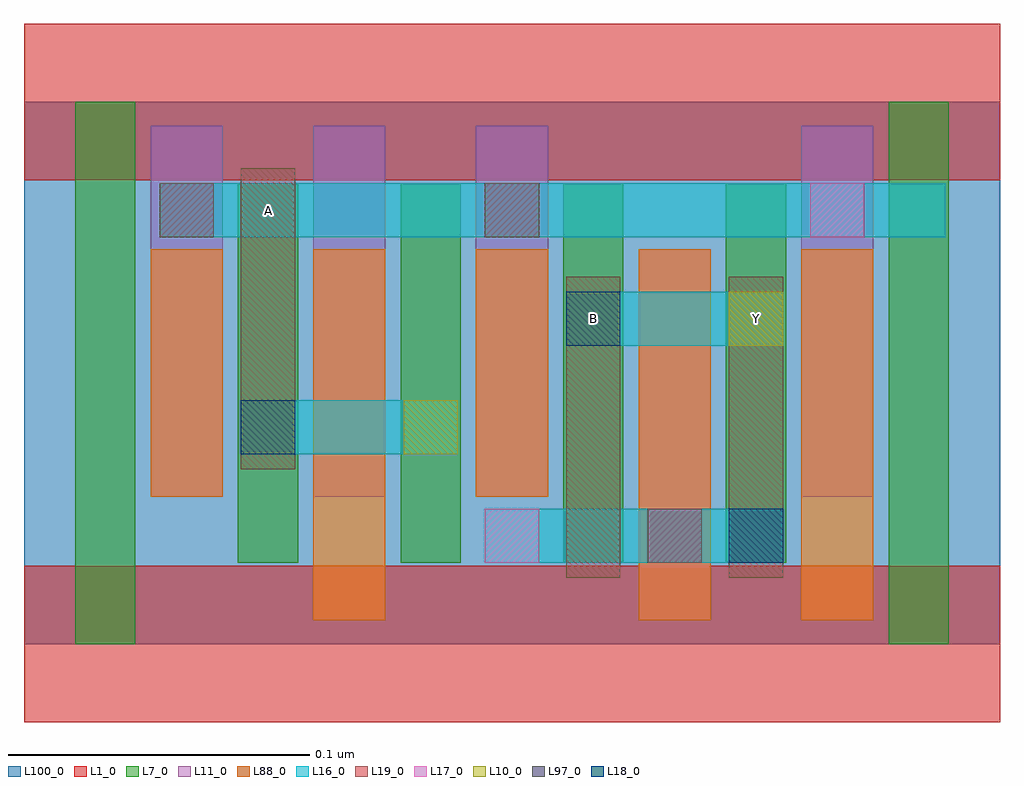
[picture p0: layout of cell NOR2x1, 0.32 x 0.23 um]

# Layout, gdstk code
import gdstk
lib = gdstk.Library(unit=1e-6, precision=2.5e-10)
def R(c, l, rs):  # rectangles x0, y0, x1, y1
    for r in rs: c.add(gdstk.rectangle(r[:2], r[2:], *l))
def A(c, l, x, y, w, h, nx, ny, dx, dy):  # array of equal rectangles
    R(c, l, [(x+i*dx, y+j*dy, x+i*dx+w, y+j*dy+h) for i in range(nx) for j in range(ny)])
L1_0 = (1, 0)
L7_0 = (7, 0)
L10_0 = (10, 0)
L11_0 = (11, 0)
L16_0 = (16, 0)
L17_0 = (17, 0)
L18_0 = (18, 0)
L19_0 = (19, 0)
L88_0 = (88, 0)
L97_0 = (97, 0)
L100_0 = (100, 0)

nor2x1 = lib.new_cell('NOR2x1')
R(nor2x1, L1_0, [(0,-0.026,0.324,0.026), (0,0.154,0.324,0.206)])
A(nor2x1, L7_0, 0.071, 0.027, 0.02, 0.126, 4, 1, 0.054, 0)
R(nor2x1, L7_0, [(0.017,0,0.037,0.18), (0.287,0,0.307,0.18)])
R(nor2x1, L10_0, [(0.072,0.063,0.09,0.081), (0.126,0.063,0.144,0.081), (0.18,0.099,0.198,0.117), (0.234,0.099,0.252,0.117)])
A(nor2x1, L11_0, 0.042, 0.049, 0.024, 0.123, 3, 1, 0.054, 0)
R(nor2x1, L11_0, [(0.204,0.008,0.228,0.131), (0.258,0.049,0.282,0.172)])
R(nor2x1, L16_0, [(0.153,0.027,0.252,0.045), (0.072,0.063,0.144,0.081), (0.18,0.099,0.252,0.117), (0.045,0.135,0.306,0.153)])
A(nor2x1, L17_0, 0.045, 0.135, 0.018, 0.018, 3, 1, 0.108, 0)
R(nor2x1, L17_0, [(0.153,0.027,0.171,0.045), (0.207,0.027,0.225,0.045)])
R(nor2x1, L18_0, [(0.234,0.027,0.252,0.045), (0.072,0.063,0.09,0.081), (0.18,0.099,0.198,0.117)])
R(nor2x1, L19_0, [(0.18,0.022,0.198,0.122), (0.234,0.022,0.252,0.122), (0.072,0.058,0.09,0.158)])
R(nor2x1, L88_0, [(0.096,0.008,0.12,0.131), (0.204,0.008,0.228,0.131), (0.258,0.008,0.282,0.131), (0.042,0.049,0.066,0.131), (0.15,0.049,0.174,0.131)])
R(nor2x1, L97_0, [(0.207,0.027,0.225,0.045), (0.045,0.135,0.063,0.153), (0.153,0.135,0.171,0.153)])
R(nor2x1, L100_0, [(0,0,0.324,0.18)])
nor2x1.add(gdstk.Label('A', (0.081,0.144), layer=19, texttype=251))
nor2x1.add(gdstk.Label('B', (0.189,0.108), layer=19, texttype=251))
nor2x1.add(gdstk.Label('Y', (0.243,0.108), layer=19, texttype=251))

lib.write_gds('NOR2x1.gds')
